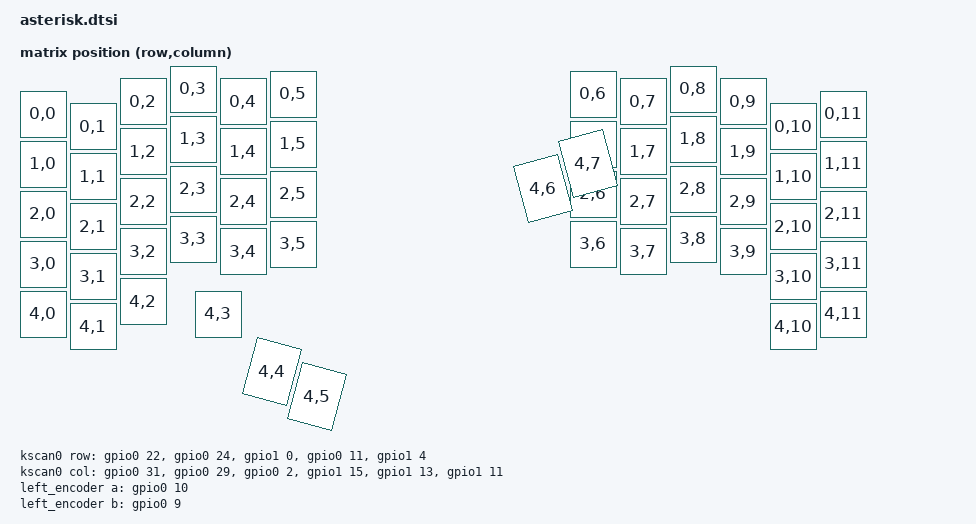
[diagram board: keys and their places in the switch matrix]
#include <dt-bindings/zmk/matrix_transform.h>
#include <physical_layouts.dtsi>
#include <dt-bindings/zmk/input_transform.h>

/ {
    chosen {
        zmk,kscan = &kscan0;
        zmk,physical-layout = &physical_layout0;
    };

    default_transform: keymap_transform_0 {
        compatible = "zmk,matrix-transform";
        columns = <12>;
        rows = <5>;

        map = <
        RC(0,0) RC(0,1) RC(0,2) RC(0,3) RC(0,4) RC(0,5)                                RC(0,6) RC(0,7) RC(0,8) RC(0,9) RC(0,10) RC(0,11)
        RC(1,0) RC(1,1) RC(1,2) RC(1,3) RC(1,4) RC(1,5)                                RC(1,6) RC(1,7) RC(1,8) RC(1,9) RC(1,10) RC(1,11)
        RC(2,0) RC(2,1) RC(2,2) RC(2,3) RC(2,4) RC(2,5)                                RC(2,6) RC(2,7) RC(2,8) RC(2,9) RC(2,10) RC(2,11)
        RC(3,0) RC(3,1) RC(3,2) RC(3,3) RC(3,4) RC(3,5)                                RC(3,6) RC(3,7) RC(3,8) RC(3,9) RC(3,10) RC(3,11)
        RC(4,0) RC(4,1) RC(4,2) RC(4,3)                RC(4,4) RC(4,5) RC(4,6) RC(4,7)                                 RC(4,10) RC(4,11)                                         
        >;
    };

    kscan0: kscan {
        diode-direction = "col2row";
        
        row-gpios
            = <&gpio0  22 (GPIO_ACTIVE_HIGH | GPIO_PULL_DOWN)>
            , <&gpio0  24 (GPIO_ACTIVE_HIGH | GPIO_PULL_DOWN)>
            , <&gpio1  0 (GPIO_ACTIVE_HIGH | GPIO_PULL_DOWN)>
            , <&gpio0  11 (GPIO_ACTIVE_HIGH | GPIO_PULL_DOWN)>
            , <&gpio1  4 (GPIO_ACTIVE_HIGH | GPIO_PULL_DOWN)>
            ;
        
        col-gpios
            = <&gpio0 31 GPIO_ACTIVE_HIGH>
            , <&gpio0 29 GPIO_ACTIVE_HIGH>
            , <&gpio0 2 GPIO_ACTIVE_HIGH>
            , <&gpio1 15 GPIO_ACTIVE_HIGH>
            , <&gpio1 13 GPIO_ACTIVE_HIGH>
            , <&gpio1 11 GPIO_ACTIVE_HIGH>
            ;
    };

    left_encoder: encoder_left {
        compatible = "alps,ec11";
        a-gpios = <&gpio0 10 (GPIO_ACTIVE_HIGH | GPIO_PULL_UP)>;
        b-gpios = <&gpio0 9 (GPIO_ACTIVE_HIGH | GPIO_PULL_UP)>;
        steps = <80>;
        status = "disabled";
    };

    sensors: sensors {
        compatible = "zmk,keymap-sensors";
        sensors = <&left_encoder>;
        triggers-per-rotation = <20>;
    };

    split_inputs {
        #address-cells = <1>;
        #size-cells = <0>;

        trackball_split: trackball_split@0 {
            compatible = "zmk,input-split";
            reg = <0>;
        };
    };

    trackball_listener: trackball_listener {
        compatible = "zmk,input-listener";
        status = "disabled";
        device = <&trackball_split>;
    };

    physical_layout0: physical_layout_0 {
        compatible = "zmk,physical-layout";
        display-name = "Asterisk";
        transform = <&default_transform>;

        keys  //                     w   h    x    y     rot    rx    ry
            = <&key_physical_attrs 100 100    0   50       0     0     0>
            , <&key_physical_attrs 100 100  100   75       0     0     0>
            , <&key_physical_attrs 100 100  200   25       0     0     0>
            , <&key_physical_attrs 100 100  300    0       0     0     0>
            , <&key_physical_attrs 100 100  400   25       0     0     0>
            , <&key_physical_attrs 100 100  500   10       0     0     0>
            , <&key_physical_attrs 100 100 1100   10       0     0     0>
            , <&key_physical_attrs 100 100 1200   25       0     0     0>
            , <&key_physical_attrs 100 100 1300    0       0     0     0>
            , <&key_physical_attrs 100 100 1400   25       0     0     0>
            , <&key_physical_attrs 100 100 1500   75       0     0     0>
            , <&key_physical_attrs 100 100 1600   50       0     0     0>
            , <&key_physical_attrs 100 100    0  150       0     0     0>
            , <&key_physical_attrs 100 100  100  175       0     0     0>
            , <&key_physical_attrs 100 100  200  125       0     0     0>
            , <&key_physical_attrs 100 100  300  100       0     0     0>
            , <&key_physical_attrs 100 100  400  125       0     0     0>
            , <&key_physical_attrs 100 100  500  110       0     0     0>
            , <&key_physical_attrs 100 100 1100  110       0     0     0>
            , <&key_physical_attrs 100 100 1200  125       0     0     0>
            , <&key_physical_attrs 100 100 1300  100       0     0     0>
            , <&key_physical_attrs 100 100 1400  125       0     0     0>
            , <&key_physical_attrs 100 100 1500  175       0     0     0>
            , <&key_physical_attrs 100 100 1600  150       0     0     0>
            , <&key_physical_attrs 100 100    0  250       0     0     0>
            , <&key_physical_attrs 100 100  100  275       0     0     0>
            , <&key_physical_attrs 100 100  200  225       0     0     0>
            , <&key_physical_attrs 100 100  300  200       0     0     0>
            , <&key_physical_attrs 100 100  400  225       0     0     0>
            , <&key_physical_attrs 100 100  500  210       0     0     0>
            , <&key_physical_attrs 100 100 1100  210       0     0     0>
            , <&key_physical_attrs 100 100 1200  225       0     0     0>
            , <&key_physical_attrs 100 100 1300  200       0     0     0>
            , <&key_physical_attrs 100 100 1400  225       0     0     0>
            , <&key_physical_attrs 100 100 1500  275       0     0     0>
            , <&key_physical_attrs 100 100 1600  250       0     0     0>
            , <&key_physical_attrs 100 100    0  350       0     0     0>
            , <&key_physical_attrs 100 100  100  375       0     0     0>
            , <&key_physical_attrs 100 100  200  325       0     0     0>
            , <&key_physical_attrs 100 100  300  300       0     0     0>
            , <&key_physical_attrs 100 100  400  325       0     0     0>
            , <&key_physical_attrs 100 100  500  310       0     0     0>
            , <&key_physical_attrs 100 100 1100  310       0     0     0>
            , <&key_physical_attrs 100 100 1200  325       0     0     0>
            , <&key_physical_attrs 100 100 1300  300       0     0     0>
            , <&key_physical_attrs 100 100 1400  325       0     0     0>
            , <&key_physical_attrs 100 100 1500  375       0     0     0>
            , <&key_physical_attrs 100 100 1600  350       0     0     0>
            , <&key_physical_attrs 100 100    0  450       0     0     0>
            , <&key_physical_attrs 100 100  100  475       0     0     0>
            , <&key_physical_attrs 100 100  200  425       0     0     0>
            , <&key_physical_attrs 100 100  350  450       0     0     0>
            , <&key_physical_attrs 100 125  600  400    1500     0     0>
            , <&key_physical_attrs 100 125  700  425    1500     0     0>
            , <&key_physical_attrs 100 125  900  450 (-1500)     0     0>
            , <&key_physical_attrs 100 125 1000  425 (-1500)     0     0>
            , <&key_physical_attrs 100 100 1500  475       0     0     0>
            , <&key_physical_attrs 100 100 1600  450       0     0     0>
            ;
    };
};
